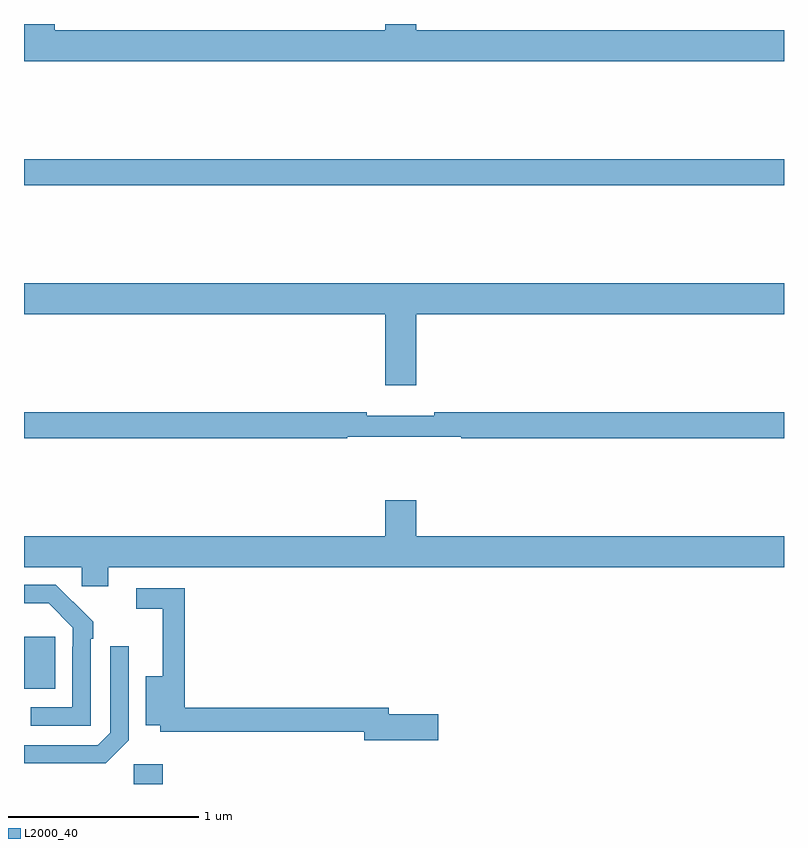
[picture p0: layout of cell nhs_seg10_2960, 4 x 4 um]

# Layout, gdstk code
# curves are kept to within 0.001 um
import gdstk
lib = gdstk.Library(unit=1e-6, precision=1e-09)
def R(c, l, rs):  # rectangles x0, y0, x1, y1
    for r in rs: c.add(gdstk.rectangle(r[:2], r[2:], *l))
def P(c, l, *ps):  # polygons
    for p in ps: c.add(gdstk.Polygon(p, *l))
L2000_40 = (2000, 40)

nhs_seg10_2960 = lib.new_cell('nhs_seg10_2960')
R(nhs_seg10_2960, L2000_40, [(271.578,1308.5,271.73,1308.604), (271,1309.001,271.165,1309.276), (271,1311.652,275,1311.788)])
P(nhs_seg10_2960, L2000_40, [(275,1312.468),(273.064,1312.468),(273.064,1312.5),(272.9,1312.5),(272.9,1312.468),(271.162,1312.468),(271.162,1312.5),(271,1312.5),(271,1312.304),(275,1312.304)],
  [(273.064,1310.972),(275,1310.972),(275,1311.136),(271,1311.136),(271,1310.972),(272.9,1310.972),(272.9,1310.598),(273.064,1310.598)],
  [(272.702,1310.328),(273.302,1310.328),(273.302,1310.32),(275,1310.32),(275,1310.456),(273.16,1310.456),(273.16,1310.437),(272.804,1310.437),(272.804,1310.456),(271,1310.456),(271,1310.32),(272.702,1310.32)],
  [(271,1309.64),(271.305,1309.64),(271.305,1309.542),(271.444,1309.542),(271.444,1309.64),(275,1309.64),(275,1309.804),(273.064,1309.804),(273.064,1309.993),(272.9,1309.993),(272.9,1309.804),(271,1309.804)],
  [(271.35,1309.265),(271.365,1309.265),(271.365,1309.353),(271.168,1309.548),(271,1309.548),(271,1309.452),(271.129,1309.452),(271.257,1309.323),(271.257,1309.223),(271.254,1309.223),(271.254,1308.903),(271.035,1308.903),(271.035,1308.807),(271.35,1308.807)],
  [(273.181,1308.866),(272.92,1308.866),(272.92,1308.902),(271.847,1308.902),(271.847,1309.53),(271.59,1309.53),(271.59,1309.422),(271.73,1309.422),(271.73,1309.066),(271.64,1309.066),(271.64,1308.809),(271.716,1308.809),(271.716,1308.774),(272.792,1308.774),(272.792,1308.731),(273.181,1308.731)],
  [(271.551,1308.729),(271.551,1309.225),(271.455,1309.225),(271.455,1308.771),(271.389,1308.705),(271,1308.705),(271,1308.608),(271.43,1308.608)])

lib.write_gds('nhs_seg10_2960.gds')
